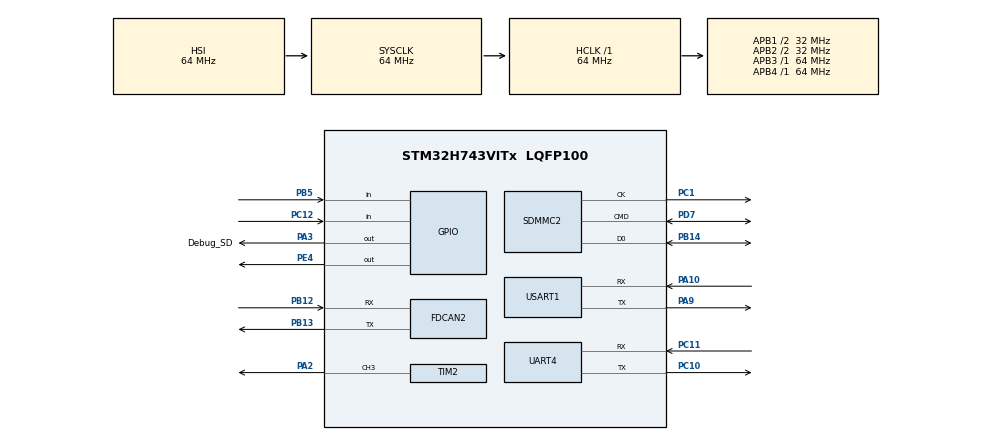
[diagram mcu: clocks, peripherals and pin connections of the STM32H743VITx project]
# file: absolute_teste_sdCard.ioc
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CORTEX_M7.default_mode_Activation=1
Dma.Request0=TIM2_CH3
Dma.TIM2_CH3.0.Direction=DMA_MEMORY_TO_PERIPH
Dma.TIM2_CH3.0.EventEnable=DISABLE
Dma.TIM2_CH3.0.FIFOMode=DMA_FIFOMODE_ENABLE
Dma.TIM2_CH3.0.FIFOThreshold=DMA_FIFO_THRESHOLD_FULL
Dma.TIM2_CH3.0.Instance=DMA1_Stream0
Dma.TIM2_CH3.0.MemBurst=DMA_MBURST_SINGLE
Dma.TIM2_CH3.0.MemDataAlignment=DMA_MDATAALIGN_HALFWORD
Dma.TIM2_CH3.0.MemInc=DMA_MINC_ENABLE
Dma.TIM2_CH3.0.Mode=DMA_NORMAL
Dma.TIM2_CH3.0.PeriphBurst=DMA_PBURST_SINGLE
Dma.TIM2_CH3.0.PeriphDataAlignment=DMA_PDATAALIGN_HALFWORD
Dma.TIM2_CH3.0.PeriphInc=DMA_PINC_DISABLE
Dma.TIM2_CH3.0.Polarity=HAL_DMAMUX_REQ_GEN_RISING
Dma.TIM2_CH3.0.Priority=DMA_PRIORITY_LOW
Dma.TIM2_CH3.0.RequestNumber=1
Dma.TIM2_CH3.0.SignalID=NONE
Dma.TIM2_CH3.0.SyncEnable=DISABLE
Dma.TIM2_CH3.0.SyncPolarity=HAL_DMAMUX_SYNC_NO_EVENT
Dma.TIM2_CH3.0.SyncRequestNumber=1
Dma.TIM2_CH3.0.SyncSignalID=NONE
FATFS.BSP.number=1
FATFS._VOLUMES=2
FATFS0.BSP.STBoard=false
FATFS0.BSP.api=Unknown
FATFS0.BSP.instance=PC12
FATFS0.BSP.ip=GPIO
FATFS0.BSP.mode=Input
FATFS0.BSP.name=Detect_SDIO
FATFS0.BSP.solution=PC12
FDCAN2.AutoRetransmission=ENABLE
FDCAN2.CalculateBaudRateNominal=500000
FDCAN2.CalculateTimeBitNominal=2000
FDCAN2.CalculateTimeQuantumNominal=125.0
FDCAN2.ExtFiltersNbr=1
FDCAN2.NominalPrescaler=2
FDCAN2.NominalTimeSeg1=13
FDCAN2.NominalTimeSeg2=2
FDCAN2.RxBuffersNbr=1
FDCAN2.RxFifo0ElmtsNbr=8
FDCAN2.RxFifo1ElmtsNbr=8
FDCAN2.StdFiltersNbr=1
FDCAN2.TxBuffersNbr=1
FDCAN2.TxEventsNbr=1
FDCAN2.TxFifoQueueElmtsNbr=8
Mcu.Family=STM32H7
Mcu.Name=STM32H743VITx
Mcu.Package=LQFP100
NVIC.DMA1_Stream0_IRQn=true\:0\:0\:false\:false\:true\:false\:true\:true
NVIC.FDCAN2_IT0_IRQn=true\:0\:0\:false\:false\:true\:true\:true\:true
NVIC.FDCAN2_IT1_IRQn=true\:0\:0\:false\:false\:true\:true\:true\:true
NVIC.PriorityGroup=NVIC_PRIORITYGROUP_4
NVIC.SDMMC2_IRQn=true\:0\:0\:false\:false\:true\:true\:true\:true
NVIC.TIM6_DAC_IRQn=true\:15\:0\:false\:false\:true\:false\:true\:true
NVIC.TimeBase=TIM6_DAC_IRQn
NVIC.TimeBaseIP=TIM6
NVIC.UART4_IRQn=true\:0\:0\:false\:false\:true\:true\:true\:true
PA10.Mode=Asynchronous
PA10.Signal=USART1_RX
PA2.Signal=S_TIM2_CH3
PA3.GPIO_Label=Debug_SD
PA3.Signal=GPIO_Output
PA9.Mode=Asynchronous
PA9.Signal=USART1_TX
PB12.Mode=FDCAN_Activate
PB12.Signal=FDCAN2_RX
PB13.Mode=FDCAN_Activate
PB13.Signal=FDCAN2_TX
PB14.Mode=SD_1_bit
PB14.Signal=SDMMC2_D0
PB15.Signal=SDMMC2_D1
PB4\ (NJTRST).Signal=SDMMC2_D3
PB5.Signal=GPIO_Input
PC1.Mode=SD_1_bit
PC1.Signal=SDMMC2_CK
PC10.Mode=Asynchronous
PC10.Signal=UART4_TX
PC11.Mode=Asynchronous
PC11.Signal=UART4_RX
PC12.Signal=GPIO_Input
PD7.GPIO_PuPd=GPIO_NOPULL
PD7.GPIO_Speed_High_Default=GPIO_SPEED_FREQ_HIGH
PD7.Mode=SD_1_bit
PD7.Signal=SDMMC2_CMD
PE4.PinAttribute=Free
PE4.Signal=GPIO_Output
ProjectManager.HeapSize=0x2000
ProjectManager.StackSize=0x4000
ProjectManager.TargetToolchain=STM32CubeIDE
RCC.ADCFreq_Value=129000000
RCC.APB1Freq_Value=32000000
RCC.APB2Freq_Value=32000000
RCC.APB3Freq_Value=64000000
RCC.APB4Freq_Value=64000000
RCC.CortexFreq_Value=64000000
RCC.D2PPRE1=RCC_APB1_DIV2
RCC.D2PPRE2=RCC_APB2_DIV2
RCC.DIVM1=4
RCC.DIVN1=10
RCC.DIVQ1=10
RCC.HCLKFreq_Value=64000000
RCC.PLLFRACN=0
RCC.SYSCLKFreq_VALUE=64000000
RCC.USBCLockSelection=RCC_USBCLKSOURCE_HSI48
RCC.USBFreq_Value=48000000
SDMMC2.ClockDiv=64
SH.S_TIM2_CH3.0=TIM2_CH3,PWM Generation3 CH3
TIM2.Channel-PWM\ Generation3\ CH3=TIM_CHANNEL_3
TIM2.Period=39
TIM3.Period=50000
TIM3.Prescaler=63
USART1.VirtualMode-Asynchronous=VM_ASYNC
VP_FATFS_VS_SDIO.Mode=SDIO
VP_MEMORYMAP_VS_MEMORYMAP.Mode=CurAppReg
VP_SYS_VS_tim6.Mode=TIM6
VP_TIM2_VS_ClockSourceINT.Mode=Internal
VP_TIM3_VS_ClockSourceINT.Mode=Internal
board=custom

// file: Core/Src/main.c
/* USER CODE BEGIN Header */
/**
 ******************************************************************************
 * @file           : main.c
 * @brief          : Main program body
 ******************************************************************************
 * @attention
 *
 * Copyright (c) 2025 STMicroelectronics.
 * All rights reserved.
 *
 * This software is licensed under terms that can be found in the LICENSE file
 * in the root directory of this software component.
 * If no LICENSE file comes with this software, it is provided AS-IS.
 *
 ******************************************************************************
 */
/* USER CODE END Header */
#include "main.h"
#include "fatfs.h"

/* USER CODE BEGIN Includes */

#include <stdio.h>
#include <string.h>

#define CAN_QUEUE_SIZE 32

#define MAX_CAN_ID 350

typedef struct {
	uint32_t id;
	uint64_t data; // 8‑byte payload for CAN Classic frames
} can_data_t;

/* USER CODE END Includes */

/* USER CODE BEGIN PD */

#define WS2812_LED_COUNT 1
#define WS2812_BITS_PER_LED 24
#define WS2812_RESET_SLOTS 100
#define WS2812_BUFFER_SIZE (WS2812_LED_COUNT * WS2812_BITS_PER_LED + WS2812_RESET_SLOTS)

#define WS2812_DUTY_0 12
#define WS2812_DUTY_1 22

/* USER CODE END PD */

FDCAN_HandleTypeDef hfdcan2;

SD_HandleTypeDef hsd2;

TIM_HandleTypeDef htim2;
TIM_HandleTypeDef htim3;
DMA_HandleTypeDef hdma_tim2_ch3;

UART_HandleTypeDef huart4;
UART_HandleTypeDef huart1;

/* USER CODE BEGIN PV */

//FDCAN_FilterTypeDef sFilterConfig;
//
//FDCAN_RxHeaderTypeDef RxHeader;
//FDCAN_TxHeaderTypeDef TxHeader;
FDCAN_RxHeaderTypeDef RxHeader;

FDCAN_FilterTypeDef sFilterConfig;

uint8_t RxData[8];

HAL_StatusTypeDef status;

uint8_t TxData[8];
uint8_t TxData_loopback[8];
uint8_t RxData_loopback[8];

int16_t imu[3];

uint16_t id;

uint16_t dados[WS2812_BUFFER_SIZE];
uint16_t c1, c2, c3;

uint16_t timestamp_us;

volatile uint32_t systemMs = 0;

can_data_t callbk_can_buff[100];
char csv_line[2048];

int16_t can_id_to_index[MAX_CAN_ID + 1];
/* USER CODE END PV */

void SystemClock_Config(void);
static void MPU_Config(void);
static void MX_GPIO_Init(void);
static void MX_DMA_Init(void);
static void MX_USART1_UART_Init(void);
static void MX_SDMMC2_SD_Init(void);
static void MX_FDCAN2_Init(void);
static void MX_UART4_Init(void);
static void MX_TIM2_Init(void);
static void MX_TIM3_Init(void);
/* USER CODE BEGIN PFP */

int __io_putchar(int ch) {
	HAL_UART_Transmit(&huart4, (uint8_t*) &ch, 1, HAL_MAX_DELAY);
	return ch;
}

int fputc(int ch, FILE *f) {
	return __io_putchar(ch);
}
/* USER CODE END PFP */

/* USER CODE BEGIN 0 */

volatile uint8_t pwmBusy = 0;

void HAL_TIM_PWM_PulseFinishedCallback(TIM_HandleTypeDef *htim) {
	if (htim->Instance == TIM2) {
		HAL_TIM_PWM_Stop_DMA(htim, TIM_CHANNEL_3);
		__HAL_TIM_SET_COMPARE(htim, TIM_CHANNEL_3, 0);
		pwmBusy = 0;
	}
}

void ws2812_show(void) {
	while (pwmBusy)
		;

	pwmBusy = 1;

	__HAL_TIM_SET_COUNTER(&htim2, 0);
	__HAL_TIM_SET_COMPARE(&htim2, TIM_CHANNEL_3, 0);

	if (HAL_TIM_PWM_Start_DMA(&htim2,
	TIM_CHANNEL_3, (uint32_t*) dados, WS2812_BUFFER_SIZE) != HAL_OK) {
		pwmBusy = 0;
	}
}

void ws2812_stop(void) {
	while (pwmBusy)
		;

	HAL_TIM_PWM_Stop_DMA(&htim2, TIM_CHANNEL_3);
	__HAL_TIM_SET_COMPARE(&htim2, TIM_CHANNEL_3, 0);
	pwmBusy = 0;
}

static void ws2812_write_byte(uint8_t value, uint16_t *buffer) {
	for (int bit = 7; bit >= 0; bit--) {
		*buffer++ = (value & (1 << bit)) ? WS2812_DUTY_1 : WS2812_DUTY_0;
	}
}

void led_rgb(uint16_t red, uint16_t green, uint16_t blue) {
	uint16_t *buffer = dados;

	ws2812_write_byte((uint8_t) green, buffer);
	buffer += 8;
	ws2812_write_byte((uint8_t) red, buffer);
	buffer += 8;
	ws2812_write_byte((uint8_t) blue, buffer);

	for (int i = WS2812_BITS_PER_LED; i < WS2812_BUFFER_SIZE; i++) {
		dados[i] = 0;
	}

	ws2812_show();
}

void ws2812_off(void) {
	led_rgb(0, 0, 0);
}

void blink_rgb(void) {
	led_rgb(120, 0, 0);
	HAL_Delay(200);
	led_rgb(0, 120, 0);
	HAL_Delay(200);
	led_rgb(0, 0, 120);
	HAL_Delay(200);
	ws2812_off();
}

void HAL_FDCAN_RxFifo0Callback(FDCAN_HandleTypeDef *hfdcan, uint32_t RxFifo0ITs) {
	uint32_t ts = __HAL_TIM_GET_COUNTER(&htim3);
	HAL_FDCAN_GetRxMessage(&hfdcan2, FDCAN_RX_FIFO0, &RxHeader, RxData);
	int16_t index = -1;
	if (RxHeader.Identifier <= MAX_CAN_ID) {
		index = can_id_to_index[RxHeader.Identifier];
		if (index >= 0 && index < 100) {
			memcpy(&callbk_can_buff[index].data, RxData, sizeof(uint64_t));
			callbk_can_buff[index].id = RxHeader.Identifier;
		}
	}
#ifdef DEBUG_UART
    char dbg[64];
    snprintf(dbg, sizeof(dbg), "%lu us ID=0x%03lX\r\n", ts, RxHeader.Identifier);
    debug_uart_puts(dbg);
    #endif
	// Keep printf for development if needed
	printf("%lu us ID=0x%03lX\r\n", ts, RxHeader.Identifier);
}

/* USER CODE END 0 */

int main(void) {

	/* MPU Configuration--------------------------------------------------------*/
	MPU_Config();

	/* MCU Configuration--------------------------------------------------------*/

	/* Reset of all peripherals, Initializes the Flash interface and the Systick. */
	HAL_Init();

	/* Configure the system clock */
	SystemClock_Config();

	/* Initialize all configured peripherals */
	MX_GPIO_Init();
	MX_DMA_Init();
	MX_USART1_UART_Init();
	MX_FATFS_Init();
	MX_UART4_Init();
	MX_SDMMC2_SD_Init();
	MX_FDCAN2_Init();
	MX_TIM2_Init();
	MX_TIM3_Init();
	/* USER CODE BEGIN 2 */

	HAL_NVIC_SetPriority(FDCAN2_IT0_IRQn, 6, 0);
	HAL_NVIC_EnableIRQ(FDCAN2_IT0_IRQn);
	HAL_NVIC_SetPriority(SDMMC2_IRQn, 5, 0);
	HAL_NVIC_EnableIRQ(SDMMC2_IRQn);

//	if (HAL_SD_ConfigWideBusOperation(&hsd2,
//	SDMMC_BUS_WIDE_4B) != HAL_OK) {
//		printf("Erro bus width\r\n");
//	}

	HAL_SD_CardInfoTypeDef info;

	if (HAL_SD_GetCardInfo(&hsd2, &info) == HAL_OK) {
		printf("SD OK\r\n");
	} else {
		printf("SD FAIL\r\n");
	}

	FATFS meuFATFS;
	FIL meuArquivo;
	UINT testeByte;

	//	HAL_TIM_PWM_Start_DMA(&htim2, TIM_CHANNEL_3, dados, 74);

	// Mount filesystem
	FRESULT mount_res = f_mount(&meuFATFS, SDPath, 1);
	if (mount_res != FR_OK) {
		printf("Falha ao montar Logical driver do Cartao sd\r\n");
		Error_Handler();
	}

	// Initialize buffer mapping – uncomment and set needed IDs
	// Example mappings (adjust as needed):
	// can_id_to_index[259] = 0;   // variable 1
	// can_id_to_index[260] = 1;   // variable 2
	// can_id_to_index[261] = 2;   // variable 3
	// ... add other mappings up to 99 entries ...

	// Open (or create) log file in append mode
	FRESULT open_res = f_open(&meuArquivo, "Arquivo.txt",
	FA_OPEN_APPEND | FA_WRITE);
	if (open_res == FR_OK) {
		// If file is empty, write header
		if (f_size(&meuArquivo) == 0) {
			const char *header =
					"TIMESTAMP,GYROSCOPE,ACCELEROMETER,YAW_INPUT,RESERVED,RESERVED,RESERVED,RESERVED,STATUS_AIR + GLV + SHUNT,TOTAL_VOLTAGE_STACK1-3,TOTAL_VOLTAGE_STACK4-6,ACCUMULATOR INFORMATION,TIMESTAMP_GNSS,LATITUDE,LONGITUDE,GENERAL_GNSS,DRIVER_INPUTS,REF_TORQUE,WHEEL_SPEED,WHEEL_ACCEL,LEFT_MOTOR_TRACTIVE,LEFT_MOTOR_CURRENT,LEFT_MOTOR_ENERGY_TEMP,LEFT_MOTOR_COMMUNICATION,LEFT_MOTOR_STATE,RIGHT_MOTOR_TRACTIVE,RIGHT_MOTOR_CURRENT,RIGHT_MOTOR_ENERGY_TEMP,RIGHT_MOTOR_COMMUNICATION,RIGHT_MOTOR_STATE,RESERVED,RESERVED,RESERVED,RESERVED,STACK_VOLTAGE_1,STACK_VOLTAGE_2,STACK_VOLTAGE_3,STACK_VOLTAGE_4,STACK_VOLTAGE_5,STACK_VOLTAGE_6,STACK_TEMPERATURE_1,STACK_TEMPERATURE_2,STACK_TEMPERATURE_3,STACK_TEMPERATURE_4,STACK_TEMPERATURE_5,STACK_TEMPERATURE_6,BMS_ERROR_LOG_1,BMS_ERROR_LOG_2,ERROR_SUM_SLAVE_1,ERROR_SUM_SLAVE_2,BMS MODE,ERROR_MODE_STACK_VOLTAGE_1,ERROR_MODE_STACK_VOLTAGE_2,ERROR_MODE_STACK_VOLTAGE_3,ERROR_MODE_STACK_VOLTAGE_4,ERROR_MODE_STACK_VOLTAGE_5,ERROR_MODE_STACK_VOLTAGE_6,ERROR_MODE_STACK_TEMPERATURE_1,ERROR_MODE_STACK_TEMPERATURE_2,ERROR_MODE_STACK_TEMPERATURE_3,ERROR_MODE_STACK_TEMPERATURE_4,ERROR_MODE_STACK_TEMPERATURE_5,ERROR_MODE_STACK_TEMPERATURE_6,ADDR VOLT MIN,ADDR VOLT MAX,ADDR MAX TEMP,DESIRED YAW,ECU_MODE,TORQUE_GAIN,CONTROL_EVENTS,HODOMETER,SET_POINT,SLIP_RATE,NTC1-3,NTC4-6,NTC7-9,MLX1,MLX2,ELETROBUILD_TEMPERATURE\r\n";
			UINT bw;
			f_write(&meuArquivo, header, strlen(header), &bw);
		}
	} else {
		printf("Falha ao abrir/criar arquivo log\r\n");
		Error_Handler();
	}

	// Timestamp baseline for logging interval
	uint32_t timestamp_base = __HAL_TIM_GET_COUNTER(&htim3);
	// Initialize CAN buffer status
	memset(callbk_can_buff, 0, sizeof(callbk_can_buff));
	memset(can_id_to_index, -1, sizeof(can_id_to_index));

	printf("Arquivo existente\r\n");

	blink_rgb();

	FRESULT write_res;
	/* USER CODE END 2 */

	/* Infinite loop */
	/* USER CODE BEGIN WHILE */
	while (1) {
		static uint32_t last_uart_heartbeat = 0;

		if (HAL_GetTick() - last_uart_heartbeat >= 100) {
			last_uart_heartbeat = HAL_GetTick();
			printf("tick %lu\r\n", HAL_GetTick());
		}

		char *ptr = csv_line;

		ptr += sprintf(ptr, "%lu", HAL_GetTick());

		for (int i = 0; i < 82; i++) {
			// Use 64-bit format specifier for CAN data payload
			ptr += sprintf(ptr, ",%llu",
					(unsigned long long) callbk_can_buff[i].data);
		}

		ptr += sprintf(ptr, "\r\n");

		// Write CSV line to SD card
		write_res = f_write(&meuArquivo, csv_line, strlen(csv_line),
				&testeByte);
		if (write_res != FR_OK) {
			printf("SD write error: %d\r\n", write_res);
		} else {
			printf("escrita realizada!\r\n");
			// Ensure data is flushed to card periodically
			f_sync(&meuArquivo);
		}
		// Do NOT close the file each iteration; keep it open for continuous logging

//				res = f_mount(NULL, SDPath, 1);
//			} else {
//				printf("Falha ao montar Logical driver do Cartao sd \r\n");
//			}
//		}

		/* USER CODE END WHILE */

	}
}

void SystemClock_Config(void) {
	RCC_OscInitTypeDef RCC_OscInitStruct = { 0 };
	RCC_ClkInitTypeDef RCC_ClkInitStruct = { 0 };

	/** Supply configuration update enable
	 */
	HAL_PWREx_ConfigSupply(PWR_LDO_SUPPLY);

	/** Configure the main internal regulator output voltage
	 */
	__HAL_PWR_VOLTAGESCALING_CONFIG(PWR_REGULATOR_VOLTAGE_SCALE3);

	while (!__HAL_PWR_GET_FLAG(PWR_FLAG_VOSRDY)) {
	}

	/** Initializes the RCC Oscillators according to the specified parameters
	 * in the RCC_OscInitTypeDef structure.
	 */
	RCC_OscInitStruct.OscillatorType = RCC_OSCILLATORTYPE_HSI;
	RCC_OscInitStruct.HSIState = RCC_HSI_DIV1;
	RCC_OscInitStruct.HSICalibrationValue = RCC_HSICALIBRATION_DEFAULT;
	RCC_OscInitStruct.PLL.PLLState = RCC_PLL_ON;
	RCC_OscInitStruct.PLL.PLLSource = RCC_PLLSOURCE_HSI;
	RCC_OscInitStruct.PLL.PLLM = 4;
	RCC_OscInitStruct.PLL.PLLN = 10;
	RCC_OscInitStruct.PLL.PLLP = 2;
	RCC_OscInitStruct.PLL.PLLQ = 10;
	RCC_OscInitStruct.PLL.PLLR = 2;
	RCC_OscInitStruct.PLL.PLLRGE = RCC_PLL1VCIRANGE_3;
	RCC_OscInitStruct.PLL.PLLVCOSEL = RCC_PLL1VCOMEDIUM;
	RCC_OscInitStruct.PLL.PLLFRACN = 0;
	if (HAL_RCC_OscConfig(&RCC_OscInitStruct) != HAL_OK) {
		Error_Handler();
	}

	/** Initializes the CPU, AHB and APB buses clocks
	 */
	RCC_ClkInitStruct.ClockType = RCC_CLOCKTYPE_HCLK | RCC_CLOCKTYPE_SYSCLK
			| RCC_CLOCKTYPE_PCLK1 | RCC_CLOCKTYPE_PCLK2 | RCC_CLOCKTYPE_D3PCLK1
			| RCC_CLOCKTYPE_D1PCLK1;
	RCC_ClkInitStruct.SYSCLKSource = RCC_SYSCLKSOURCE_HSI;
	RCC_ClkInitStruct.SYSCLKDivider = RCC_SYSCLK_DIV1;
	RCC_ClkInitStruct.AHBCLKDivider = RCC_HCLK_DIV1;
	RCC_ClkInitStruct.APB3CLKDivider = RCC_APB3_DIV1;
	RCC_ClkInitStruct.APB1CLKDivider = RCC_APB1_DIV2;
	RCC_ClkInitStruct.APB2CLKDivider = RCC_APB2_DIV2;
	RCC_ClkInitStruct.APB4CLKDivider = RCC_APB4_DIV1;

	if (HAL_RCC_ClockConfig(&RCC_ClkInitStruct, FLASH_LATENCY_1) != HAL_OK) {
		Error_Handler();
	}
}

static void MX_FDCAN2_Init(void) {

	hfdcan2.Instance = FDCAN2;
	hfdcan2.Init.FrameFormat = FDCAN_FRAME_CLASSIC;
	hfdcan2.Init.Mode = FDCAN_MODE_NORMAL;
	hfdcan2.Init.AutoRetransmission = ENABLE;
	hfdcan2.Init.TransmitPause = DISABLE;
	hfdcan2.Init.ProtocolException = DISABLE;
	hfdcan2.Init.NominalPrescaler = 2;
	hfdcan2.Init.NominalSyncJumpWidth = 1;
	hfdcan2.Init.NominalTimeSeg1 = 13;
	hfdcan2.Init.NominalTimeSeg2 = 2;
	hfdcan2.Init.DataPrescaler = 1;
	hfdcan2.Init.DataSyncJumpWidth = 1;
	hfdcan2.Init.DataTimeSeg1 = 1;
	hfdcan2.Init.DataTimeSeg2 = 1;
	hfdcan2.Init.MessageRAMOffset = 0;
	hfdcan2.Init.StdFiltersNbr = 1;
	hfdcan2.Init.ExtFiltersNbr = 1;
	hfdcan2.Init.RxFifo0ElmtsNbr = 8;
	hfdcan2.Init.RxFifo0ElmtSize = FDCAN_DATA_BYTES_8;
	hfdcan2.Init.RxFifo1ElmtsNbr = 8;
	hfdcan2.Init.RxFifo1ElmtSize = FDCAN_DATA_BYTES_8;
	hfdcan2.Init.RxBuffersNbr = 1;
	hfdcan2.Init.RxBufferSize = FDCAN_DATA_BYTES_8;
	hfdcan2.Init.TxEventsNbr = 1;
	hfdcan2.Init.TxBuffersNbr = 1;
	hfdcan2.Init.TxFifoQueueElmtsNbr = 8;
	hfdcan2.Init.TxFifoQueueMode = FDCAN_TX_FIFO_OPERATION;
	hfdcan2.Init.TxElmtSize = FDCAN_DATA_BYTES_8;
	if (HAL_FDCAN_Init(&hfdcan2) != HAL_OK) {
		Error_Handler();
	}
	/* USER CODE BEGIN FDCAN2_Init 2 */
	sFilterConfig.IdType = FDCAN_STANDARD_ID;
	sFilterConfig.FilterIndex = 0;

	sFilterConfig.FilterType = FDCAN_FILTER_MASK;
	sFilterConfig.FilterConfig = FDCAN_FILTER_TO_RXFIFO0;

	sFilterConfig.FilterID1 = 0x000;
	sFilterConfig.FilterID2 = 0x000;

	HAL_FDCAN_ConfigFilter(&hfdcan2, &sFilterConfig);

	HAL_FDCAN_Start(&hfdcan2);

	HAL_FDCAN_ActivateNotification(&hfdcan2,
	FDCAN_IT_RX_FIFO0_NEW_MESSAGE, 0);

	/* USER CODE END FDCAN2_Init 2 */

}

static void MX_SDMMC2_SD_Init(void) {

	hsd2.Instance = SDMMC2;
	hsd2.Init.ClockEdge = SDMMC_CLOCK_EDGE_RISING;
	hsd2.Init.ClockPowerSave = SDMMC_CLOCK_POWER_SAVE_DISABLE;
	hsd2.Init.BusWide = SDMMC_BUS_WIDE_1B;
	hsd2.Init.HardwareFlowControl = SDMMC_HARDWARE_FLOW_CONTROL_DISABLE;
	hsd2.Init.ClockDiv = 64;
	/* USER CODE BEGIN SDMMC2_Init 2 */

	uint8_t sd_ok = 0;

	for (int tentativas = 0; tentativas < 10; tentativas++) {
		if (HAL_SD_Init(&hsd2) == HAL_OK) {
			sd_ok = 1;
			printf("SD inicializado na tentativa %d\r\n", tentativas + 1);
			break;
		}

		printf("Falha SD tentativa %d, erro=0x%08lx\r\n", tentativas + 1,
				hsd2.ErrorCode);

		HAL_SD_DeInit(&hsd2);
		HAL_Delay(500);
	}

	if (!sd_ok) {
		printf("Nao foi possivel inicializar SD\r\n");

		Error_Handler();
		NVIC_SystemReset();
	}

	/* USER CODE END SDMMC2_Init 2 */

}

static void MX_TIM2_Init(void) {

	TIM_ClockConfigTypeDef sClockSourceConfig = { 0 };
	TIM_MasterConfigTypeDef sMasterConfig = { 0 };
	TIM_OC_InitTypeDef sConfigOC = { 0 };

	htim2.Instance = TIM2;
	htim2.Init.Prescaler = 0;
	htim2.Init.CounterMode = TIM_COUNTERMODE_UP;
	htim2.Init.Period = 39;
	htim2.Init.ClockDivision = TIM_CLOCKDIVISION_DIV1;
	htim2.Init.AutoReloadPreload = TIM_AUTORELOAD_PRELOAD_DISABLE;
	if (HAL_TIM_Base_Init(&htim2) != HAL_OK) {
		Error_Handler();
	}
	sClockSourceConfig.ClockSource = TIM_CLOCKSOURCE_INTERNAL;
	if (HAL_TIM_ConfigClockSource(&htim2, &sClockSourceConfig) != HAL_OK) {
		Error_Handler();
	}
	if (HAL_TIM_PWM_Init(&htim2) != HAL_OK) {
		Error_Handler();
	}
	sMasterConfig.MasterOutputTrigger = TIM_TRGO_RESET;
	sMasterConfig.MasterSlaveMode = TIM_MASTERSLAVEMODE_DISABLE;
	if (HAL_TIMEx_MasterConfigSynchronization(&htim2, &sMasterConfig)
			!= HAL_OK) {
		Error_Handler();
	}
	sConfigOC.OCMode = TIM_OCMODE_PWM1;
	sConfigOC.Pulse = 0;
	sConfigOC.OCPolarity = TIM_OCPOLARITY_HIGH;
	sConfigOC.OCFastMode = TIM_OCFAST_DISABLE;
	if (HAL_TIM_PWM_ConfigChannel(&htim2, &sConfigOC, TIM_CHANNEL_3)
			!= HAL_OK) {
		Error_Handler();
	}
	HAL_TIM_MspPostInit(&htim2);

}

static void MX_TIM3_Init(void) {

	TIM_ClockConfigTypeDef sClockSourceConfig = { 0 };
	TIM_MasterConfigTypeDef sMasterConfig = { 0 };

	htim3.Instance = TIM3;
	htim3.Init.Prescaler = 63;
	htim3.Init.CounterMode = TIM_COUNTERMODE_UP;
	htim3.Init.Period = 50000;
	htim3.Init.ClockDivision = TIM_CLOCKDIVISION_DIV1;
	htim3.Init.AutoReloadPreload = TIM_AUTORELOAD_PRELOAD_DISABLE;
	if (HAL_TIM_Base_Init(&htim3) != HAL_OK) {
		Error_Handler();
	}
	sClockSourceConfig.ClockSource = TIM_CLOCKSOURCE_INTERNAL;
	if (HAL_TIM_ConfigClockSource(&htim3, &sClockSourceConfig) != HAL_OK) {
		Error_Handler();
	}
	sMasterConfig.MasterOutputTrigger = TIM_TRGO_RESET;
	sMasterConfig.MasterSlaveMode = TIM_MASTERSLAVEMODE_DISABLE;
	if (HAL_TIMEx_MasterConfigSynchronization(&htim3, &sMasterConfig)
			!= HAL_OK) {
		Error_Handler();
	}
	/* USER CODE BEGIN TIM3_Init 2 */

	HAL_TIM_Base_Start_IT(&htim3);
	/* USER CODE END TIM3_Init 2 */

}

static void MX_UART4_Init(void) {

	huart4.Instance = UART4;
	huart4.Init.BaudRate = 115200;
	huart4.Init.WordLength = UART_WORDLENGTH_8B;
	huart4.Init.StopBits = UART_STOPBITS_1;
	huart4.Init.Parity = UART_PARITY_NONE;
	huart4.Init.Mode = UART_MODE_TX_RX;
	huart4.Init.HwFlowCtl = UART_HWCONTROL_NONE;
	huart4.Init.OverSampling = UART_OVERSAMPLING_16;
	huart4.Init.OneBitSampling = UART_ONE_BIT_SAMPLE_DISABLE;
	huart4.Init.ClockPrescaler = UART_PRESCALER_DIV1;
	huart4.AdvancedInit.AdvFeatureInit = UART_ADVFEATURE_NO_INIT;
	if (HAL_UART_Init(&huart4) != HAL_OK) {
		Error_Handler();
	}
	if (HAL_UARTEx_SetTxFifoThreshold(&huart4, UART_TXFIFO_THRESHOLD_1_8)
			!= HAL_OK) {
		Error_Handler();
	}
	if (HAL_UARTEx_SetRxFifoThreshold(&huart4, UART_RXFIFO_THRESHOLD_1_8)
			!= HAL_OK) {
		Error_Handler();
	}
	if (HAL_UARTEx_DisableFifoMode(&huart4) != HAL_OK) {
		Error_Handler();
	}

}

static void MX_USART1_UART_Init(void) {

	huart1.Instance = USART1;
	huart1.Init.BaudRate = 115200;
	huart1.Init.WordLength = UART_WORDLENGTH_8B;
	huart1.Init.StopBits = UART_STOPBITS_1;
	huart1.Init.Parity = UART_PARITY_NONE;
	huart1.Init.Mode = UART_MODE_TX_RX;
	huart1.Init.HwFlowCtl = UART_HWCONTROL_NONE;
	huart1.Init.OverSampling = UART_OVERSAMPLING_16;
	huart1.Init.OneBitSampling = UART_ONE_BIT_SAMPLE_DISABLE;
	huart1.Init.ClockPrescaler = UART_PRESCALER_DIV1;
	huart1.AdvancedInit.AdvFeatureInit = UART_ADVFEATURE_NO_INIT;
	if (HAL_UART_Init(&huart1) != HAL_OK) {
		Error_Handler();
	}
	if (HAL_UARTEx_SetTxFifoThreshold(&huart1, UART_TXFIFO_THRESHOLD_1_8)
			!= HAL_OK) {
		Error_Handler();
	}
	if (HAL_UARTEx_SetRxFifoThreshold(&huart1, UART_RXFIFO_THRESHOLD_1_8)
			!= HAL_OK) {
		Error_Handler();
	}
	if (HAL_UARTEx_DisableFifoMode(&huart1) != HAL_OK) {
		Error_Handler();
	}

}

static void MX_DMA_Init(void) {

	/* DMA controller clock enable */
	__HAL_RCC_DMA1_CLK_ENABLE();

	/* DMA interrupt init */
	/* DMA1_Stream0_IRQn interrupt configuration */
	HAL_NVIC_SetPriority(DMA1_Stream0_IRQn, 0, 0);
	HAL_NVIC_EnableIRQ(DMA1_Stream0_IRQn);

}

static void MX_GPIO_Init(void) {
	GPIO_InitTypeDef GPIO_InitStruct = { 0 };

	/* GPIO Ports Clock Enable */
	__HAL_RCC_GPIOE_CLK_ENABLE();
	__HAL_RCC_GPIOC_CLK_ENABLE();
	__HAL_RCC_GPIOA_CLK_ENABLE();
	__HAL_RCC_GPIOB_CLK_ENABLE();
	__HAL_RCC_GPIOD_CLK_ENABLE();

	/*Configure GPIO pin Output Level */
	HAL_GPIO_WritePin(GPIOE, GPIO_PIN_4, GPIO_PIN_RESET);

	/*Configure GPIO pin Output Level */
	HAL_GPIO_WritePin(Debug_SD_GPIO_Port, Debug_SD_Pin, GPIO_PIN_RESET);

	/*Configure GPIO pin : PE4 */
	GPIO_InitStruct.Pin = GPIO_PIN_4;
	GPIO_InitStruct.Mode = GPIO_MODE_OUTPUT_PP;
	GPIO_InitStruct.Pull = GPIO_NOPULL;
	GPIO_InitStruct.Speed = GPIO_SPEED_FREQ_LOW;
	HAL_GPIO_Init(GPIOE, &GPIO_InitStruct);

	/*Configure GPIO pin : Debug_SD_Pin */
	GPIO_InitStruct.Pin = Debug_SD_Pin;
	GPIO_InitStruct.Mode = GPIO_MODE_OUTPUT_PP;
	GPIO_InitStruct.Pull = GPIO_NOPULL;
	GPIO_InitStruct.Speed = GPIO_SPEED_FREQ_LOW;
	HAL_GPIO_Init(Debug_SD_GPIO_Port, &GPIO_InitStruct);

	/*Configure GPIO pin : PC12 */
	GPIO_InitStruct.Pin = GPIO_PIN_12;
	GPIO_InitStruct.Mode = GPIO_MODE_INPUT;
	GPIO_InitStruct.Pull = GPIO_NOPULL;
	HAL_GPIO_Init(GPIOC, &GPIO_InitStruct);

	/*Configure GPIO pin : PB5 */
	GPIO_InitStruct.Pin = GPIO_PIN_5;
	GPIO_InitStruct.Mode = GPIO_MODE_INPUT;
	GPIO_InitStruct.Pull = GPIO_NOPULL;
	HAL_GPIO_Init(GPIOB, &GPIO_InitStruct);

	/* USER CODE BEGIN MX_GPIO_Init_2 */
	GPIO_InitStruct.Pin = GPIO_PIN_12 | GPIO_PIN_13;
	GPIO_InitStruct.Mode = GPIO_MODE_AF_PP;
	GPIO_InitStruct.Pull = GPIO_NOPULL;
	GPIO_InitStruct.Speed = GPIO_SPEED_FREQ_VERY_HIGH;
	GPIO_InitStruct.Alternate = GPIO_AF9_FDCAN2;
	HAL_GPIO_Init(GPIOB, &GPIO_InitStruct);

	/* USER CODE END MX_GPIO_Init_2 */
}

/* MPU Configuration */

void MPU_Config(void) {
	MPU_Region_InitTypeDef MPU_InitStruct = { 0 };

	/* Disables the MPU */
	HAL_MPU_Disable();

	/** Initializes and configures the Region and the memory to be protected
	 */
	MPU_InitStruct.Enable = MPU_REGION_ENABLE;
	MPU_InitStruct.Number = MPU_REGION_NUMBER0;
	MPU_InitStruct.BaseAddress = 0x0;
	MPU_InitStruct.Size = MPU_REGION_SIZE_4GB;
	MPU_InitStruct.SubRegionDisable = 0x87;
	MPU_InitStruct.TypeExtField = MPU_TEX_LEVEL0;
	MPU_InitStruct.AccessPermission = MPU_REGION_NO_ACCESS;
	MPU_InitStruct.DisableExec = MPU_INSTRUCTION_ACCESS_DISABLE;
	MPU_InitStruct.IsShareable = MPU_ACCESS_SHAREABLE;
	MPU_InitStruct.IsCacheable = MPU_ACCESS_NOT_CACHEABLE;
	MPU_InitStruct.IsBufferable = MPU_ACCESS_NOT_BUFFERABLE;

	HAL_MPU_ConfigRegion(&MPU_InitStruct);
	/* Enables the MPU */
	HAL_MPU_Enable(MPU_PRIVILEGED_DEFAULT);

}

void HAL_TIM_PeriodElapsedCallback(TIM_HandleTypeDef *htim) {
	if (htim->Instance == TIM6) {
		HAL_IncTick();
	}
	/* USER CODE BEGIN Callback 1 */

	if (htim->Instance == TIM3) {
		systemMs++;
	}

	/* USER CODE END Callback 1 */
}

void Error_Handler(void) {
	__disable_irq();
	while (1) {
	}
}
